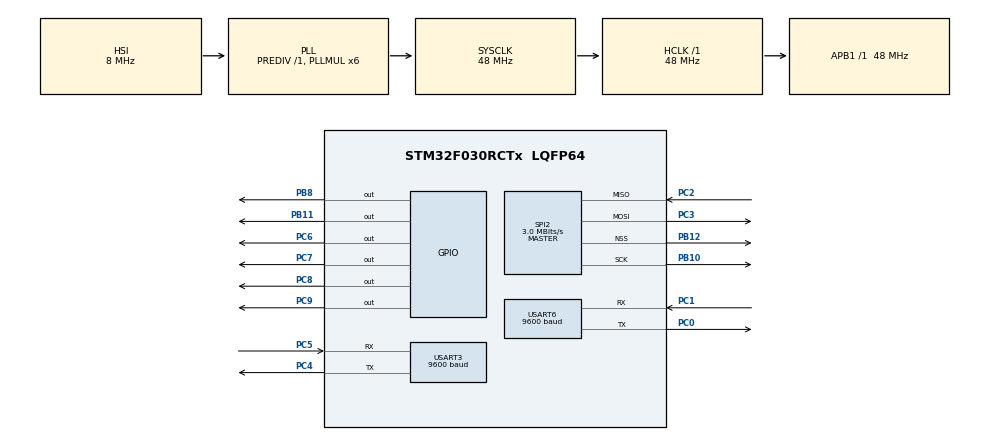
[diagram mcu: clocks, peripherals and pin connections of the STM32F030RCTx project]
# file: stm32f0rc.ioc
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FREERTOS.Queues01=myAS6801Queue,32,uint16_t,0,Dynamic,NULL,NULL
FREERTOS.Tasks01=defaultLEDTask,-2,128,StartDefaultLEDTask,Default,NULL,Dynamic,NULL,NULL;myAS6801Task,0,128,StartAS6801Task,Default,NULL,Dynamic,NULL,NULL
Mcu.Family=STM32F0
Mcu.Name=STM32F030RCTx
Mcu.Package=LQFP64
NVIC.USART3_6_IRQn=true\:3\:0\:false\:false\:true\:true\:true
PA13.Mode=Serial_Wire
PA13.Signal=SYS_SWDIO
PA14.Mode=Serial_Wire
PA14.Signal=SYS_SWCLK
PB10.Mode=Full_Duplex_Master
PB10.Signal=SPI2_SCK
PB11.Signal=GPIO_Output
PB12.Mode=NSS_Signal_Hard_Output
PB12.Signal=SPI2_NSS
PB8.Signal=GPIO_Output
PC0.Mode=Asynchronous
PC0.Signal=USART6_TX
PC1.Mode=Asynchronous
PC1.Signal=USART6_RX
PC2.Mode=Full_Duplex_Master
PC2.Signal=SPI2_MISO
PC3.Mode=Full_Duplex_Master
PC3.Signal=SPI2_MOSI
PC4.Mode=Asynchronous
PC4.Signal=USART3_TX
PC5.Mode=Asynchronous
PC5.Signal=USART3_RX
PC6.Signal=GPIO_Output
PC7.Signal=GPIO_Output
PC8.Signal=GPIO_Output
PC9.Signal=GPIO_Output
ProjectManager.HeapSize=0x200
ProjectManager.StackSize=0x400
ProjectManager.TargetToolchain=MDK-ARM V5
RCC.AHBFreq_Value=48000000
RCC.APB1Freq_Value=48000000
RCC.APB1TimFreq_Value=48000000
RCC.HCLKFreq_Value=48000000
RCC.PLLMUL=RCC_PLL_MUL6
RCC.SYSCLKFreq_VALUE=48000000
RCC.SYSCLKSource=RCC_SYSCLKSOURCE_PLLCLK
SPI2.BaudRatePrescaler=SPI_BAUDRATEPRESCALER_16
SPI2.CalculateBaudRate=3.0 MBits/s
SPI2.DataSize=SPI_DATASIZE_8BIT
SPI2.Direction=SPI_DIRECTION_2LINES
SPI2.Mode=SPI_MODE_MASTER
SPI2.TIMode=SPI_TIMODE_DISABLE
SPI2.VirtualNSS=VM_NSSHARD
SPI2.VirtualType=VM_MASTER
USART3.BaudRate=9600
USART3.MSBFirstParam=ADVFEATURE_MSBFIRST_ENABLE
USART3.VirtualMode-Asynchronous=VM_ASYNC
USART6.BaudRate=9600
USART6.MSBFirstParam=ADVFEATURE_MSBFIRST_ENABLE
USART6.VirtualMode=VM_ASYNC
VP_FREERTOS_VS_ENABLE.Mode=Enabled
board=custom

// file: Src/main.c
/* USER CODE BEGIN Header */
/**
  ******************************************************************************
  * @file           : main.c
  * @brief          : Main program body
  ******************************************************************************
  * This notice applies to any and all portions of this file
  * that are not between comment pairs USER CODE BEGIN and
  * USER CODE END. Other portions of this file, whether
  * inserted by the user or by software development tools
  * are owned by their respective copyright owners.
  *
  * Copyright (c) 2019 STMicroelectronics International N.V.
  * All rights reserved.
  *
  * Redistribution and use in source and binary forms, with or without
  * modification, are permitted, provided that the following conditions are met:
  *
  * 1. Redistribution of source code must retain the above copyright notice,
  *    this list of conditions and the following disclaimer.
  * 2. Redistributions in binary form must reproduce the above copyright notice,
  *    this list of conditions and the following disclaimer in the documentation
  *    and/or other materials provided with the distribution.
  * 3. Neither the name of STMicroelectronics nor the names of other
  *    contributors to this software may be used to endorse or promote products
  *    derived from this software without specific written permission.
  * 4. This software, including modifications and/or derivative works of this
  *    software, must execute solely and exclusively on microcontroller or
  *    microprocessor devices manufactured by or for STMicroelectronics.
  * 5. Redistribution and use of this software other than as permitted under
  *    this license is void and will automatically terminate your rights under
  *    this license.
  *
  * THIS SOFTWARE IS PROVIDED BY STMICROELECTRONICS AND CONTRIBUTORS "AS IS"
  * AND ANY EXPRESS, IMPLIED OR STATUTORY WARRANTIES, INCLUDING, BUT NOT
  * LIMITED TO, THE IMPLIED WARRANTIES OF MERCHANTABILITY, FITNESS FOR A
  * PARTICULAR PURPOSE AND NON-INFRINGEMENT OF THIRD PARTY INTELLECTUAL PROPERTY
  * RIGHTS ARE DISCLAIMED TO THE FULLEST EXTENT PERMITTED BY LAW. IN NO EVENT
  * SHALL STMICROELECTRONICS OR CONTRIBUTORS BE LIABLE FOR ANY DIRECT, INDIRECT,
  * INCIDENTAL, SPECIAL, EXEMPLARY, OR CONSEQUENTIAL DAMAGES (INCLUDING, BUT NOT
  * LIMITED TO, PROCUREMENT OF SUBSTITUTE GOODS OR SERVICES; LOSS OF USE, DATA,
  * OR PROFITS; OR BUSINESS INTERRUPTION) HOWEVER CAUSED AND ON ANY THEORY OF
  * LIABILITY, WHETHER IN CONTRACT, STRICT LIABILITY, OR TORT (INCLUDING
  * NEGLIGENCE OR OTHERWISE) ARISING IN ANY WAY OUT OF THE USE OF THIS SOFTWARE,
  * EVEN IF ADVISED OF THE POSSIBILITY OF SUCH DAMAGE.
  *
  ******************************************************************************
  */
/* USER CODE END Header */

#include "main.h"
#include "cmsis_os.h"
#include "AS608.h"

SPI_HandleTypeDef hspi2;

UART_HandleTypeDef huart3;
UART_HandleTypeDef huart6;

osThreadId defaultLEDTaskHandle;
osThreadId myAS6801TaskHandle;
osMessageQId myAS6801QueueHandle;

void SystemClock_Config(void);
static void MX_GPIO_Init(void);
static void MX_USART3_UART_Init(void);
static void MX_USART6_UART_Init(void);
static void MX_SPI2_Init(void);
void StartDefaultLEDTask(void const * argument);
void StartAS6801Task(void const * argument);

/* USER CODE BEGIN 0 */
uint8_t aTxBuffer[100]={0};
uint8_t aTxBuffer2[100]={0};
uint8_t aRxBuffer1[1];      // 用来接收串口1发送的数据
uint8_t aRxBuffer2[1];      // 用来接收串口2发送的数据

void HAL_UART_RxCpltCallback(UART_HandleTypeDef *huart)
{
    if(huart->Instance == USART3)
    {
        aTxBuffer[0] = aRxBuffer1[0];
        aTxBuffer[1] = 0x03;
        HAL_UART_Transmit(&huart3,aTxBuffer,2,2);
    }

    if(huart->Instance == USART6)
    {
        aTxBuffer[0] = aRxBuffer2[0];
        aTxBuffer[1] = 0x06;
        HAL_UART_Transmit(&huart6,aTxBuffer,2,100);
        HAL_UART_Receive_IT(&huart6,aRxBuffer2,1);
    }
}

/* USER CODE END 0 */

int main(void)
{

  /* MCU Configuration--------------------------------------------------------*/

  /* Reset of all peripherals, Initializes the Flash interface and the Systick. */
  HAL_Init();

  /* Configure the system clock */
  SystemClock_Config();

  /* Initialize all configured peripherals */
  MX_GPIO_Init();
  MX_USART3_UART_Init();
  MX_USART6_UART_Init();
  MX_SPI2_Init();
  /* USER CODE BEGIN 2 */
  HAL_UART_Receive_IT(&huart3,aRxBuffer1,1);          // Enable the USART3 Interrupt
  HAL_UART_Receive_IT(&huart6,aRxBuffer2,1);          // Enable the USART6 Interrupt

  /* USER CODE END 2 */

  /* Create the thread(s) */
  /* definition and creation of defaultLEDTask */
  osThreadDef(defaultLEDTask, StartDefaultLEDTask, osPriorityLow, 0, 128);
  defaultLEDTaskHandle = osThreadCreate(osThread(defaultLEDTask), NULL);

  /* definition and creation of myAS6801Task */
  osThreadDef(myAS6801Task, StartAS6801Task, osPriorityNormal, 0, 128);
  myAS6801TaskHandle = osThreadCreate(osThread(myAS6801Task), NULL);

  /* Create the queue(s) */
  /* definition and creation of myAS6801Queue */
  osMessageQDef(myAS6801Queue, 32, uint16_t);
  myAS6801QueueHandle = osMessageCreate(osMessageQ(myAS6801Queue), NULL);

  /* Start scheduler */
  osKernelStart();

  /* We should never get here as control is now taken by the scheduler */

  /* Infinite loop */
  while (1)
  {

  }
}

void SystemClock_Config(void)
{
  RCC_OscInitTypeDef RCC_OscInitStruct = {0};
  RCC_ClkInitTypeDef RCC_ClkInitStruct = {0};

  /**Initializes the CPU, AHB and APB busses clocks
  */
  RCC_OscInitStruct.OscillatorType = RCC_OSCILLATORTYPE_HSI;
  RCC_OscInitStruct.HSIState = RCC_HSI_ON;
  RCC_OscInitStruct.HSICalibrationValue = RCC_HSICALIBRATION_DEFAULT;
  RCC_OscInitStruct.PLL.PLLState = RCC_PLL_ON;
  RCC_OscInitStruct.PLL.PLLSource = RCC_PLLSOURCE_HSI;
  RCC_OscInitStruct.PLL.PLLMUL = RCC_PLL_MUL6;
  RCC_OscInitStruct.PLL.PREDIV = RCC_PREDIV_DIV1;
  if (HAL_RCC_OscConfig(&RCC_OscInitStruct) != HAL_OK)
  {
    Error_Handler();
  }
  /**Initializes the CPU, AHB and APB busses clocks
  */
  RCC_ClkInitStruct.ClockType = RCC_CLOCKTYPE_HCLK|RCC_CLOCKTYPE_SYSCLK
                              |RCC_CLOCKTYPE_PCLK1;
  RCC_ClkInitStruct.SYSCLKSource = RCC_SYSCLKSOURCE_PLLCLK;
  RCC_ClkInitStruct.AHBCLKDivider = RCC_SYSCLK_DIV1;
  RCC_ClkInitStruct.APB1CLKDivider = RCC_HCLK_DIV1;

  if (HAL_RCC_ClockConfig(&RCC_ClkInitStruct, FLASH_LATENCY_1) != HAL_OK)
  {
    Error_Handler();
  }
}

static void MX_SPI2_Init(void)
{

  /* SPI2 parameter configuration*/
  hspi2.Instance = SPI2;
  hspi2.Init.Mode = SPI_MODE_MASTER;
  hspi2.Init.Direction = SPI_DIRECTION_2LINES;
  hspi2.Init.DataSize = SPI_DATASIZE_8BIT;
  hspi2.Init.CLKPolarity = SPI_POLARITY_LOW;
  hspi2.Init.CLKPhase = SPI_PHASE_1EDGE;
  hspi2.Init.NSS = SPI_NSS_HARD_OUTPUT;
  hspi2.Init.BaudRatePrescaler = SPI_BAUDRATEPRESCALER_16;
  hspi2.Init.FirstBit = SPI_FIRSTBIT_MSB;
  hspi2.Init.TIMode = SPI_TIMODE_DISABLE;
  hspi2.Init.CRCCalculation = SPI_CRCCALCULATION_DISABLE;
  hspi2.Init.CRCPolynomial = 7;
  hspi2.Init.CRCLength = SPI_CRC_LENGTH_DATASIZE;
  hspi2.Init.NSSPMode = SPI_NSS_PULSE_ENABLE;
  if (HAL_SPI_Init(&hspi2) != HAL_OK)
  {
    Error_Handler();
  }

}

static void MX_USART3_UART_Init(void)
{

  huart3.Instance = USART3;
  huart3.Init.BaudRate = 9600;
  huart3.Init.WordLength = UART_WORDLENGTH_8B;
  huart3.Init.StopBits = UART_STOPBITS_1;
  huart3.Init.Parity = UART_PARITY_NONE;
  huart3.Init.Mode = UART_MODE_TX_RX;
  huart3.Init.HwFlowCtl = UART_HWCONTROL_NONE;
  huart3.Init.OverSampling = UART_OVERSAMPLING_16;
  huart3.Init.OneBitSampling = UART_ONE_BIT_SAMPLE_DISABLE;
  huart3.AdvancedInit.AdvFeatureInit = UART_ADVFEATURE_MSBFIRST_INIT;
  huart3.AdvancedInit.MSBFirst = UART_ADVFEATURE_MSBFIRST_ENABLE;
  if (HAL_UART_Init(&huart3) != HAL_OK)
  {
    Error_Handler();
  }

}

static void MX_USART6_UART_Init(void)
{

  huart6.Instance = USART6;
  huart6.Init.BaudRate = 9600;
  huart6.Init.WordLength = UART_WORDLENGTH_8B;
  huart6.Init.StopBits = UART_STOPBITS_1;
  huart6.Init.Parity = UART_PARITY_NONE;
  huart6.Init.Mode = UART_MODE_TX_RX;
  huart6.Init.HwFlowCtl = UART_HWCONTROL_NONE;
  //huart6.Init.OverSampling = UART_OVERSAMPLING_16;
  //huart6.Init.OneBitSampling = UART_ONE_BIT_SAMPLE_DISABLE;
  //huart6.AdvancedInit.AdvFeatureInit = UART_ADVFEATURE_MSBFIRST_INIT;
  //huart6.AdvancedInit.MSBFirst = UART_ADVFEATURE_MSBFIRST_ENABLE;
  if (HAL_UART_Init(&huart6) != HAL_OK)
  {
    Error_Handler();
  }

}

static void MX_GPIO_Init(void)
{
  GPIO_InitTypeDef GPIO_InitStruct = {0};

  /* GPIO Ports Clock Enable */
  __HAL_RCC_GPIOC_CLK_ENABLE();
  __HAL_RCC_GPIOF_CLK_ENABLE();
  __HAL_RCC_GPIOA_CLK_ENABLE();
  __HAL_RCC_GPIOB_CLK_ENABLE();
  __HAL_RCC_GPIOD_CLK_ENABLE();

  /*Configure GPIO pin Output Level */
  HAL_GPIO_WritePin(GPIOB, GPIO_PIN_11|GPIO_PIN_8, GPIO_PIN_RESET);

  /*Configure GPIO pin Output Level */
  HAL_GPIO_WritePin(GPIOC, GPIO_PIN_6|GPIO_PIN_7|GPIO_PIN_8|GPIO_PIN_9, GPIO_PIN_RESET);

  /*Configure GPIO pins : PC13 PC14 PC15 PC10
                           PC11 PC12 */
  GPIO_InitStruct.Pin = GPIO_PIN_13|GPIO_PIN_14|GPIO_PIN_15|GPIO_PIN_10
                          |GPIO_PIN_11|GPIO_PIN_12;
  GPIO_InitStruct.Mode = GPIO_MODE_ANALOG;
  GPIO_InitStruct.Pull = GPIO_NOPULL;
  HAL_GPIO_Init(GPIOC, &GPIO_InitStruct);

  /*Configure GPIO pins : PF0 PF1 */
  GPIO_InitStruct.Pin = GPIO_PIN_0|GPIO_PIN_1;
  GPIO_InitStruct.Mode = GPIO_MODE_ANALOG;
  GPIO_InitStruct.Pull = GPIO_NOPULL;
  HAL_GPIO_Init(GPIOF, &GPIO_InitStruct);

  /*Configure GPIO pins : PA0 PA1 PA2 PA3
                           PA4 PA5 PA6 PA7
                           PA8 PA9 PA10 PA11
                           PA12 PA15 */
  GPIO_InitStruct.Pin = GPIO_PIN_0|GPIO_PIN_1|GPIO_PIN_2|GPIO_PIN_3
                          |GPIO_PIN_4|GPIO_PIN_5|GPIO_PIN_6|GPIO_PIN_7
                          |GPIO_PIN_8|GPIO_PIN_9|GPIO_PIN_10|GPIO_PIN_11
                          |GPIO_PIN_12|GPIO_PIN_15;
  GPIO_InitStruct.Mode = GPIO_MODE_ANALOG;
  GPIO_InitStruct.Pull = GPIO_NOPULL;
  HAL_GPIO_Init(GPIOA, &GPIO_InitStruct);

  /*Configure GPIO pins : PB0 PB1 PB2 PB13
                           PB14 PB15 PB3 PB4
                           PB5 PB6 PB7 PB9 */
  GPIO_InitStruct.Pin = GPIO_PIN_0|GPIO_PIN_1|GPIO_PIN_2|GPIO_PIN_13
                          |GPIO_PIN_14|GPIO_PIN_15|GPIO_PIN_3|GPIO_PIN_4
                          |GPIO_PIN_5|GPIO_PIN_6|GPIO_PIN_7|GPIO_PIN_9;
  GPIO_InitStruct.Mode = GPIO_MODE_ANALOG;
  GPIO_InitStruct.Pull = GPIO_NOPULL;
  HAL_GPIO_Init(GPIOB, &GPIO_InitStruct);

  /*Configure GPIO pins : PB11 PB8 */
  GPIO_InitStruct.Pin = GPIO_PIN_11|GPIO_PIN_8;
  GPIO_InitStruct.Mode = GPIO_MODE_OUTPUT_PP;
  GPIO_InitStruct.Pull = GPIO_NOPULL;
  GPIO_InitStruct.Speed = GPIO_SPEED_FREQ_LOW;
  HAL_GPIO_Init(GPIOB, &GPIO_InitStruct);

  /*Configure GPIO pins : PC6 PC7 PC8 PC9 */
  GPIO_InitStruct.Pin = GPIO_PIN_6|GPIO_PIN_7|GPIO_PIN_8|GPIO_PIN_9;
  GPIO_InitStruct.Mode = GPIO_MODE_OUTPUT_PP;
  GPIO_InitStruct.Pull = GPIO_NOPULL;
  GPIO_InitStruct.Speed = GPIO_SPEED_FREQ_LOW;
  HAL_GPIO_Init(GPIOC, &GPIO_InitStruct);

  /*Configure GPIO pin : PD2 */
  GPIO_InitStruct.Pin = GPIO_PIN_2;
  GPIO_InitStruct.Mode = GPIO_MODE_ANALOG;
  GPIO_InitStruct.Pull = GPIO_NOPULL;
  HAL_GPIO_Init(GPIOD, &GPIO_InitStruct);

}

void StartDefaultLEDTask(void const * argument)
{

  /* USER CODE BEGIN 5 */

  /* Infinite loop */
  for(;;)
  {
    osDelay(100);
    HAL_GPIO_WritePin(GPIOB, GPIO_PIN_8, GPIO_PIN_SET);
    osDelay(100);
    HAL_GPIO_WritePin(GPIOB, GPIO_PIN_8, GPIO_PIN_RESET);
  }
  /* USER CODE END 5 */
}

void StartAS6801Task(void const * argument)
{
  /* USER CODE BEGIN StartAS6801Task */
  /* Infinite loop */
  for(;;)
  {
    osDelay(2000);
    AS608_GetImage();
  }
  /* USER CODE END StartAS6801Task */
}

void Error_Handler(void)
{
}

#if 0
void HAL_TIM_PeriodElapsedCallback(TIM_HandleTypeDef *htim)
{
    if(htim->Instance == TIM3)      // 判断是由哪个定时器触发的中断
    {
        HAL_GPIO_TogglePin(GPIOA,GPIO_PIN_8);
    }

}
#endif

void SendMsgToUart3(uint8_t *msg, uint16_t msgLen)
{
    HAL_UART_Transmit(&huart6,msg,msgLen,100);
}
/************************ (C) COPYRIGHT STMicroelectronics *****END OF FILE****/
